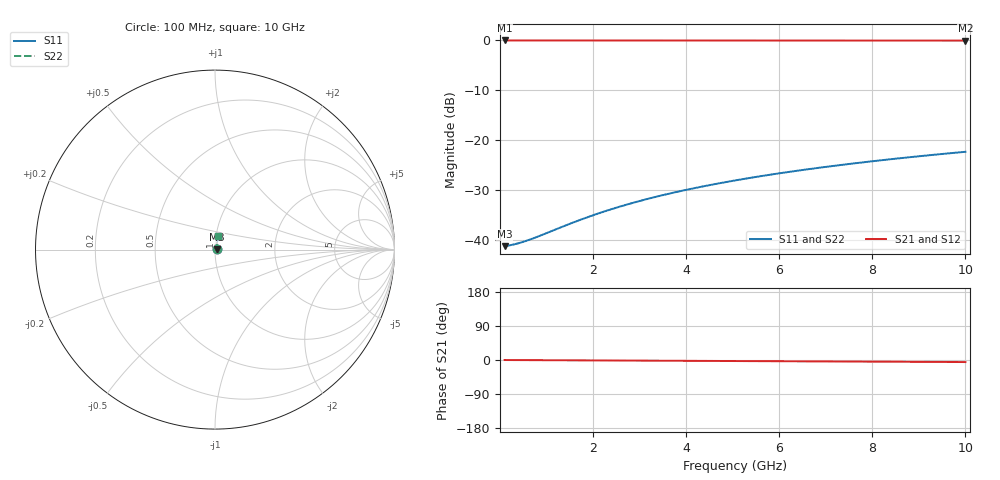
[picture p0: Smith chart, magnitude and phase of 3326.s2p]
# Hz S RI R 50.00
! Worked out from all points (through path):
!   100 points, 100 MHz to 10 GHz, reference 50 ohm
!   highest |S21| = -0.07 dB at 100 MHz (marker M1); lowest = -0.1 dB at 10 GHz (marker M2)
!   lowest |S11| = -41.3 dB at 100 MHz (marker M3), VSWR 1.02, Z = 50.9 + j0.076 ohm
!   |S11| at or under -10 dB: start of sweep to end of sweep
!   |S22| runs from -41.3 to -22.4 dB; largest |S21 - S12| = 0
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1e8  0.00857 0.000747  0.9914 -0.000942  0.9914 -0.000942  0.00857 0.000747
2e8  0.00863 0.00149  0.9914 -0.00188  0.9914 -0.00188  0.00863 0.00149
3e8  0.00868 0.00224  0.9913 -0.00283  0.9913 -0.00283  0.00868 0.00224
4e8  0.00871 0.00299  0.9913 -0.00377  0.9913 -0.00377  0.00871 0.00299
6e8  0.00878 0.00448  0.9912 -0.00565  0.9912 -0.00565  0.00878 0.00448
8e8  0.00884 0.00598  0.9912 -0.00753  0.9912 -0.00753  0.00884 0.00598
1.4e9  0.00903 0.0105  0.991 -0.0132  0.991 -0.0132  0.00903 0.0105
1.8e9  0.00917 0.0134  0.9908 -0.0169  0.9908 -0.0169  0.00917 0.0134
2.2e9  0.00932 0.0164  0.9907 -0.0207  0.9907 -0.0207  0.00932 0.0164
2.6e9  0.00949 0.0194  0.9905 -0.0245  0.9905 -0.0245  0.00949 0.0194
3e9  0.00968 0.0224  0.9903 -0.0282  0.9903 -0.0282  0.00968 0.0224
3.4e9  0.00989 0.0254  0.9901 -0.032  0.9901 -0.032  0.00989 0.0254
3.8e9  0.0101 0.0283  0.9898 -0.0357  0.9898 -0.0357  0.0101 0.0283
4.2e9  0.0104 0.0313  0.9896 -0.0395  0.9896 -0.0395  0.0104 0.0313
4.6e9  0.0107 0.0343  0.9893 -0.0432  0.9893 -0.0432  0.0107 0.0343
5.1e9  0.011 0.038  0.9889 -0.0479  0.9889 -0.0479  0.011 0.038
5.9e9  0.0117 0.0439  0.9882 -0.0554  0.9882 -0.0554  0.0117 0.0439
6.7e9  0.0124 0.0499  0.9875 -0.0629  0.9875 -0.0629  0.0124 0.0499
7.5e9  0.0133 0.0558  0.9866 -0.0704  0.9866 -0.0704  0.0133 0.0558
8.4e9  0.0143 0.0624  0.9855 -0.0788  0.9855 -0.0788  0.0143 0.0624
9.2e9  0.0154 0.0683  0.9844 -0.0862  0.9844 -0.0862  0.0154 0.0683
1e10  0.0165 0.0741  0.9833 -0.0936  0.9833 -0.0936  0.0165 0.0741
